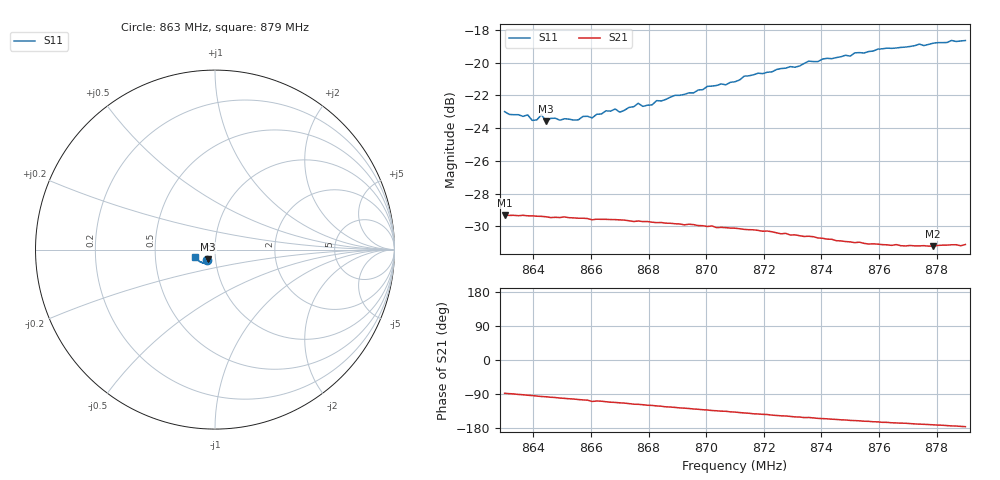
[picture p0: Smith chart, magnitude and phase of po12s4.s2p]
# HZ S RI R 50
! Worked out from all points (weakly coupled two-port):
!   101 points, 863 MHz to 879 MHz, reference 50 ohm
!   highest |S21| = -29.30 dB at 863 MHz (marker M1); lowest = -31.2 dB at 877.88 MHz (marker M2)
!   lowest |S11| = -23.6 dB at 864.44 MHz (marker M3), VSWR 1.14, Z = 46.1 - j5.07 ohm
!   |S11| at or under -10 dB: start of sweep to end of sweep
!   S12 and S22 are empty: the file has one direction only
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8.63e8  -0.0443 -0.0554  0.0013 -0.0342  0 0  0 0
8.638e8  -0.0422 -0.0549  -0.00176 -0.034  0 0  0 0
8.6396e8  -0.0389 -0.0541  -0.00228 -0.034  0 0  0 0
8.6428e8  -0.0392 -0.0572  -0.00376 -0.0337  0 0  0 0
8.6444e8  -0.0373 -0.0547  -0.00412 -0.0336  0 0  0 0
8.646e8  -0.0378 -0.056  -0.00488 -0.0333  0 0  0 0
8.6556e8  -0.0356 -0.0566  -0.00828 -0.0325  0 0  0 0
8.6572e8  -0.0352 -0.0587  -0.00886 -0.0323  0 0  0 0
8.6604e8  -0.0345 -0.0584  -0.011 -0.0313  0 0  0 0
8.6652e8  -0.0351 -0.062  -0.0114 -0.0312  0 0  0 0
8.6684e8  -0.0359 -0.0626  -0.0124 -0.0308  0 0  0 0
8.67e8  -0.0349 -0.0613  -0.013 -0.0305  0 0  0 0
8.6764e8  -0.0371 -0.0653  -0.0149 -0.0293  0 0  0 0
8.678e8  -0.0362 -0.064  -0.0154 -0.0289  0 0  0 0
8.6844e8  -0.0372 -0.0667  -0.0172 -0.0276  0 0  0 0
8.7004e8  -0.0443 -0.0721  -0.0211 -0.0235  0 0  0 0
8.71e8  -0.0494 -0.0722  -0.023 -0.0211  0 0  0 0
8.7132e8  -0.0514 -0.075  -0.0236 -0.02  0 0  0 0
8.7372e8  -0.0679 -0.0744  -0.0262 -0.0134  0 0  0 0
8.7644e8  -0.0921 -0.0612  -0.0268 -0.00687  0 0  0 0
8.7788e8  -0.1034 -0.0494  -0.0272 -0.00429  0 0  0 0
8.79e8  -0.1102 -0.0386  -0.0278 -0.00198  0 0  0 0
